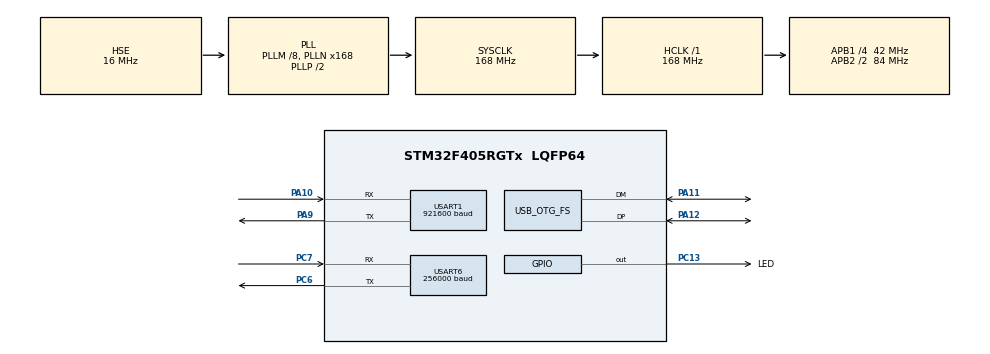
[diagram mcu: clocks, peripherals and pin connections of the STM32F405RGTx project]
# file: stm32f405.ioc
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Mcu.Family=STM32F4
Mcu.Name=STM32F405RGTx
Mcu.Package=LQFP64
NVIC.PriorityGroup=NVIC_PRIORITYGROUP_4
PA10.Mode=Asynchronous
PA10.Signal=USART1_RX
PA11.Mode=Device_Only
PA11.Signal=USB_OTG_FS_DM
PA12.Mode=Device_Only
PA12.Signal=USB_OTG_FS_DP
PA9.Mode=Asynchronous
PA9.Signal=USART1_TX
PC13-ANTI_TAMP.GPIO_Label=LED
PC13-ANTI_TAMP.Signal=GPIO_Output
PC6.Mode=Asynchronous
PC6.Signal=USART6_TX
PC7.Mode=Asynchronous
PC7.Signal=USART6_RX
PH0-OSC_IN.Mode=HSE-External-Oscillator
PH0-OSC_IN.Signal=RCC_OSC_IN
PH1-OSC_OUT.Mode=HSE-External-Oscillator
PH1-OSC_OUT.Signal=RCC_OSC_OUT
ProjectManager.HeapSize=0x200
ProjectManager.StackSize=0x400
ProjectManager.TargetToolchain=STM32CubeIDE
RCC.48MHZClocksFreq_Value=48000000
RCC.AHBFreq_Value=168000000
RCC.APB1CLKDivider=RCC_HCLK_DIV4
RCC.APB1Freq_Value=42000000
RCC.APB1TimFreq_Value=84000000
RCC.APB2CLKDivider=RCC_HCLK_DIV2
RCC.APB2Freq_Value=84000000
RCC.APB2TimFreq_Value=168000000
RCC.CortexFreq_Value=168000000
RCC.HCLKFreq_Value=168000000
RCC.HSE_VALUE=16000000
RCC.HSI_VALUE=16000000
RCC.LSE_VALUE=32768
RCC.PLLM=8
RCC.PLLN=168
RCC.PLLQ=7
RCC.SYSCLKFreq_VALUE=168000000
RCC.SYSCLKSource=RCC_SYSCLKSOURCE_PLLCLK
RCC.VCOOutputFreq_Value=336000000
USART1.BaudRate=921600
USART1.VirtualMode=VM_ASYNC
USART6.BaudRate=256000
USART6.VirtualMode=VM_ASYNC
USB_OTG_FS.VirtualMode=Device_Only
board=custom

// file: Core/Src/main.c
/* USER CODE BEGIN Header */
/**
 ******************************************************************************
 * @file           : main.c
 * @brief          : Main program body
 ******************************************************************************
 * @attention
 *
 * Copyright (c) 2024 Lars Boegild Thomsen <lbthomsen@gmail.com>
 * All rights reserved.
 *
 * This software is licensed under terms that can be found in the LICENSE file
 * in the root directory of this software component.
 * If no LICENSE file comes with this software, it is provided AS-IS.
 *
 ******************************************************************************
 */
/* USER CODE END Header */
#include "main.h"

UART_HandleTypeDef huart1;
UART_HandleTypeDef huart6;

PCD_HandleTypeDef hpcd_USB_OTG_FS;

void SystemClock_Config(void);
static void MX_GPIO_Init(void);
static void MX_USART1_UART_Init(void);
static void MX_USB_OTG_FS_PCD_Init(void);
static void MX_USART6_UART_Init(void);

/* USER CODE BEGIN 0 */

// Send stdout to USART1 and stderr to SWO
int _write(int fd, char *ptr, int len) {

    if (fd == 1) {
        HAL_StatusTypeDef hstatus;
        hstatus = HAL_UART_Transmit(&huart1, (uint8_t*) ptr, len, HAL_MAX_DELAY);
        if (hstatus == HAL_OK)
            return len;
        else
            return -1;
    } else if (fd == 2) {
        for (int i = 0; i < len; i++) {
            ITM_SendChar(ptr[i]); /* core_cm4.h */
        }
        return len;
    }
    return -1;
}

/* USER CODE END 0 */

int main(void)
{

  /* MCU Configuration--------------------------------------------------------*/

  /* Reset of all peripherals, Initializes the Flash interface and the Systick. */
  HAL_Init();

  /* Configure the system clock */
  SystemClock_Config();

  /* Initialize all configured peripherals */
  MX_GPIO_Init();
  MX_USART1_UART_Init();
  MX_USB_OTG_FS_PCD_Init();
  MX_USART6_UART_Init();
  /* USER CODE BEGIN 2 */

    DBG("\n\n\nBegin\n");

  /* USER CODE END 2 */

  /* Infinite loop */
  /* USER CODE BEGIN WHILE */

    uint32_t now = 0, last_blink = 0, last_tick = 0;

    while (1)
    {

        now = HAL_GetTick();

        if (now - last_blink >= 500) {

            HAL_GPIO_TogglePin(LED_GPIO_Port, LED_Pin);

            last_blink = now;

        }

        if (now - last_tick >= 1000) {

            DBG("Tick %lu", now / 1000);

            last_tick = now;

        }

    /* USER CODE END WHILE */

    }
}

void SystemClock_Config(void)
{
  RCC_OscInitTypeDef RCC_OscInitStruct = {0};
  RCC_ClkInitTypeDef RCC_ClkInitStruct = {0};

  /** Configure the main internal regulator output voltage
  */
  __HAL_RCC_PWR_CLK_ENABLE();
  __HAL_PWR_VOLTAGESCALING_CONFIG(PWR_REGULATOR_VOLTAGE_SCALE1);

  /** Initializes the RCC Oscillators according to the specified parameters
  * in the RCC_OscInitTypeDef structure.
  */
  RCC_OscInitStruct.OscillatorType = RCC_OSCILLATORTYPE_HSE;
  RCC_OscInitStruct.HSEState = RCC_HSE_ON;
  RCC_OscInitStruct.PLL.PLLState = RCC_PLL_ON;
  RCC_OscInitStruct.PLL.PLLSource = RCC_PLLSOURCE_HSE;
  RCC_OscInitStruct.PLL.PLLM = 8;
  RCC_OscInitStruct.PLL.PLLN = 168;
  RCC_OscInitStruct.PLL.PLLP = RCC_PLLP_DIV2;
  RCC_OscInitStruct.PLL.PLLQ = 7;
  if (HAL_RCC_OscConfig(&RCC_OscInitStruct) != HAL_OK)
  {
    Error_Handler();
  }

  /** Initializes the CPU, AHB and APB buses clocks
  */
  RCC_ClkInitStruct.ClockType = RCC_CLOCKTYPE_HCLK|RCC_CLOCKTYPE_SYSCLK
                              |RCC_CLOCKTYPE_PCLK1|RCC_CLOCKTYPE_PCLK2;
  RCC_ClkInitStruct.SYSCLKSource = RCC_SYSCLKSOURCE_PLLCLK;
  RCC_ClkInitStruct.AHBCLKDivider = RCC_SYSCLK_DIV1;
  RCC_ClkInitStruct.APB1CLKDivider = RCC_HCLK_DIV4;
  RCC_ClkInitStruct.APB2CLKDivider = RCC_HCLK_DIV2;

  if (HAL_RCC_ClockConfig(&RCC_ClkInitStruct, FLASH_LATENCY_5) != HAL_OK)
  {
    Error_Handler();
  }
}

static void MX_USART1_UART_Init(void)
{

  huart1.Instance = USART1;
  huart1.Init.BaudRate = 921600;
  huart1.Init.WordLength = UART_WORDLENGTH_8B;
  huart1.Init.StopBits = UART_STOPBITS_1;
  huart1.Init.Parity = UART_PARITY_NONE;
  huart1.Init.Mode = UART_MODE_TX_RX;
  huart1.Init.HwFlowCtl = UART_HWCONTROL_NONE;
  huart1.Init.OverSampling = UART_OVERSAMPLING_16;
  if (HAL_UART_Init(&huart1) != HAL_OK)
  {
    Error_Handler();
  }

}

static void MX_USART6_UART_Init(void)
{

  huart6.Instance = USART6;
  huart6.Init.BaudRate = 256000;
  huart6.Init.WordLength = UART_WORDLENGTH_8B;
  huart6.Init.StopBits = UART_STOPBITS_1;
  huart6.Init.Parity = UART_PARITY_NONE;
  huart6.Init.Mode = UART_MODE_TX_RX;
  huart6.Init.HwFlowCtl = UART_HWCONTROL_NONE;
  huart6.Init.OverSampling = UART_OVERSAMPLING_16;
  if (HAL_UART_Init(&huart6) != HAL_OK)
  {
    Error_Handler();
  }

}

static void MX_USB_OTG_FS_PCD_Init(void)
{

  hpcd_USB_OTG_FS.Instance = USB_OTG_FS;
  hpcd_USB_OTG_FS.Init.dev_endpoints = 4;
  hpcd_USB_OTG_FS.Init.speed = PCD_SPEED_FULL;
  hpcd_USB_OTG_FS.Init.dma_enable = DISABLE;
  hpcd_USB_OTG_FS.Init.phy_itface = PCD_PHY_EMBEDDED;
  hpcd_USB_OTG_FS.Init.Sof_enable = DISABLE;
  hpcd_USB_OTG_FS.Init.low_power_enable = DISABLE;
  hpcd_USB_OTG_FS.Init.lpm_enable = DISABLE;
  hpcd_USB_OTG_FS.Init.vbus_sensing_enable = DISABLE;
  hpcd_USB_OTG_FS.Init.use_dedicated_ep1 = DISABLE;
  if (HAL_PCD_Init(&hpcd_USB_OTG_FS) != HAL_OK)
  {
    Error_Handler();
  }

}

static void MX_GPIO_Init(void)
{
  GPIO_InitTypeDef GPIO_InitStruct = {0};

  /* GPIO Ports Clock Enable */
  __HAL_RCC_GPIOC_CLK_ENABLE();
  __HAL_RCC_GPIOH_CLK_ENABLE();
  __HAL_RCC_GPIOA_CLK_ENABLE();

  /*Configure GPIO pin Output Level */
  HAL_GPIO_WritePin(LED_GPIO_Port, LED_Pin, GPIO_PIN_RESET);

  /*Configure GPIO pin : LED_Pin */
  GPIO_InitStruct.Pin = LED_Pin;
  GPIO_InitStruct.Mode = GPIO_MODE_OUTPUT_PP;
  GPIO_InitStruct.Pull = GPIO_NOPULL;
  GPIO_InitStruct.Speed = GPIO_SPEED_FREQ_LOW;
  HAL_GPIO_Init(LED_GPIO_Port, &GPIO_InitStruct);

}

void Error_Handler(void)
{
    __disable_irq();
    while (1)
    {
    }
}
